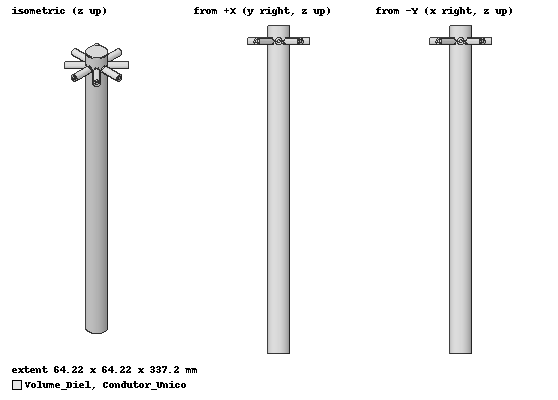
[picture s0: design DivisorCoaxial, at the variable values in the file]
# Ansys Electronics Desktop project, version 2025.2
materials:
  vacuum: permittivity=1
  Ar: permittivity=1.0006 permeability=1
  pec: conductivity=1e+30
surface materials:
  Steel-oxidised-surface

design DivisorCoaxial (HFSS, HFSS Modal Network, model units mm)
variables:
  f_start = 600MHz
  f_stop = 800MHz
  f0 = (f_start+f_stop)/2
  d_ext = 25mm
  wall_thick = 1.5mm
  n_sections = 3
  n_outputs = 8
  comp_total = 337.16538mm
  comp_secoes = 321.10989mm
  dia_int_tubo = d_ext-(2*wall_thick)
  dia_saida_diel = 7.3333333mm
  dia_saida_cond = 3.1884058mm
  comp_saida = 32.110989mm
  dia_sc1 = 12.196367mm
  dia_sc2 = 16.380479mm
  dia_sc3 = 18.983428mm
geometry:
  Volume_Diel [Ar] = cylinder(axis=Z, base_centre=(0mm, 0mm, 0mm), radius=dia_int_tubo/2, height=comp_total)
  Condutor_Unico [pec] = cylinder(axis=Z, base_centre=(0mm, 0mm, 0mm), radius=dia_sc1/2, height=107.03663mm)
  Cond_Sec2 = cylinder(axis=Z, base_centre=(0mm, 0mm, 107.03663mm), radius=dia_sc2/2, height=107.03663mm)
  Cond_Sec3 = cylinder(axis=Z, base_centre=(0mm, 0mm, 214.07326mm), radius=dia_sc3/2, height=107.03663mm)
  Output_Outer_1 = cylinder(axis=X, base_centre=(0mm, 0mm, comp_secoes), radius=dia_saida_diel/2, height=comp_saida)
  Output_Inner_1 = cylinder(axis=X, base_centre=(0mm, 0mm, comp_secoes), radius=dia_saida_cond/2, height=comp_saida)
  Output_Outer_1_1..Output_Outer_1_7 = Output_Outer_1.duplicate_around_axis(axis=Z, angle=360deg/8, total=8)
  Output_Inner_1_1..Output_Inner_1_7 = Output_Inner_1.duplicate_around_axis(axis=Z, angle=360deg/8, total=8)
  Volume_Diel.unite(Output_Outer_1, Output_Outer_1_1..Output_Outer_1_7)
  Condutor_Unico.unite(Cond_Sec2, Cond_Sec3, Output_Inner_1, Output_Inner_1_1..Output_Inner_1_7)
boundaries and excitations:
  P1: Wave Port Faces=Volume_Diel.face(-z end) WavePortType=Modal NumModes=1 Modes{Mode1{CharImp=Zpi RenormImp=50ohm}}
  P2: Wave Port Faces=Volume_Diel.face(at (32.111, 0, 321.11)) WavePortType=Modal NumModes=1 Modes{Mode1{CharImp=Zpi RenormImp=50ohm}}
  P3: Wave Port Faces=Volume_Diel.face(at (22.7059, 22.7059, 321.11)) WavePortType=Modal NumModes=1 Modes{Mode1{CharImp=Zpi RenormImp=50ohm}}
  P4: Wave Port Faces=Volume_Diel.face(at (0, 32.111, 321.11)) WavePortType=Modal NumModes=1 Modes{Mode1{CharImp=Zpi RenormImp=50ohm}}
  P5: Wave Port Faces=Volume_Diel.face(at (-22.7059, 22.7059, 321.11)) WavePortType=Modal NumModes=1 Modes{Mode1{CharImp=Zpi RenormImp=50ohm}}
  P6: Wave Port Faces=Volume_Diel.face(at (-32.111, 0, 321.11)) WavePortType=Modal NumModes=1 Modes{Mode1{CharImp=Zpi RenormImp=50ohm}}
  P7: Wave Port Faces=Volume_Diel.face(at (-22.7059, -22.7059, 321.11)) WavePortType=Modal NumModes=1 Modes{Mode1{CharImp=Zpi RenormImp=50ohm}}
  P8: Wave Port Faces=Volume_Diel.face(at (0, -32.111, 321.11)) WavePortType=Modal NumModes=1 Modes{Mode1{CharImp=Zpi RenormImp=50ohm}}
  P9: Wave Port Faces=Volume_Diel.face(at (22.7059, -22.7059, 321.11)) WavePortType=Modal NumModes=1 Modes{Mode1{CharImp=Zpi RenormImp=50ohm}}
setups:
  Setup1: HfssDriven Frequency=5GHz MaxDeltaS=0.02 MaximumPasses=8 MinimumPasses=1 MinimumConvergedPasses=1 PercentRefinement=30 BasisOrder=1 PortAccuracy=2 DrivenSolverType="Direct Solver"
    sweep Sweep1: 600MHz to 800MHz, 201 points; Type=Fast
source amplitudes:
  P1:1: 1W 0deg
  P2:1, P3:1, P4:1, P5:1, P6:1, P7:1, P8:1, P9:1: 0W 0deg
